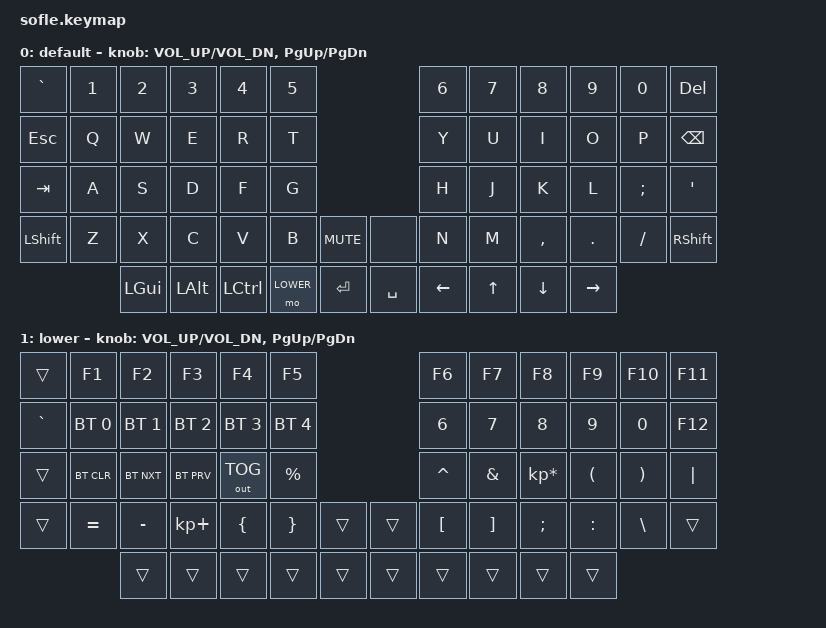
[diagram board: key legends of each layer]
/*
 * Copyright (c) 2020 The ZMK Contributors
 *
 * SPDX-License-Identifier: MIT
 */

#include <behaviors.dtsi>
#include <dt-bindings/zmk/keys.h>
#include <dt-bindings/zmk/bt.h>
#include <dt-bindings/zmk/outputs.h>

#define BASE 0
#define LOWER 1

/ {

    keymap {
        compatible = "zmk,keymap";

        default_layer {
            display-name = "default";
// ------------------------------------------------------------------------------------------------------------
// |   `   |  1  |  2  |  3   |  4   |  5   |                   |  6   |  7  |  8    |   9   |   0   |  DEL  |
// |  ESC  |  Q  |  W  |  E   |  R   |  T   |                   |  Y   |  U  |  I    |   O   |   P   | BKSPC |
// |  TAB  |  A  |  S  |  D   |  F   |  G   |                   |  H   |  J  |  K    |   L   |   ;   |   '   |
// | SHIFT |  Z  |  X  |  C   |  V   |  B   |  MUTE  |  |       |  N   |  M  |  ,    |   .   |   /   | SHIFT |
//               | GUI | ALT  | CTRL | LOWER|  ENTER |  | SPACE | LEFT |  UP | DOWN  | RIGHT |
            bindings = <
&kp GRAVE &kp N1 &kp N2   &kp N3   &kp N4    &kp N5                          &kp N6   &kp N7 &kp N8    &kp N9    &kp N0   &kp DEL
&kp ESC   &kp Q  &kp W    &kp E    &kp R     &kp T                           &kp Y    &kp U  &kp I     &kp O     &kp P    &kp BSPC
&kp TAB   &kp A  &kp S    &kp D    &kp F     &kp G                           &kp H    &kp J  &kp K     &kp L     &kp SEMI &kp SQT
&kp LSHFT &kp Z  &kp X    &kp C    &kp V     &kp B      &kp C_MUTE &none     &kp N    &kp M  &kp COMMA &kp DOT   &kp FSLH &kp RSHFT
                 &kp LGUI &kp LALT &kp LCTRL &mo LOWER  &kp RET    &kp SPACE &kp LEFT &kp UP &kp DOWN  &kp RIGHT
            >;

            sensor-bindings = <&inc_dec_kp C_VOL_UP C_VOL_DN &inc_dec_kp PG_UP PG_DN>;
        };

        lower_layer {
            display-name = "lower";
// TODO: Some binds are waiting for shifted keycode support.
// ------------------------------------------------------------------------------------------------------------
// |       |  F1 |  F2 |  F3  |  F4  |  F5  |                   |  F6  |  F7   |  F8   |  F9  |  F10  |  F11  |
// |   `   |BT_SEL 0|BT_SEL 1|BT_SEL 2|BT_SEL 3|BT_SEL 4|       |  6   |  7    |  8    |  9   |   0   |  F12  |
// |       |BT_CLR|BT_NXT|BT_PRV|OUT_TOG|  %   |                   |  ^   |  &    |  *    |  (   |   )   |   |   |
// |       |  =  |  -  |  +   |  {   |  }   |        |  |       |  [   |  ]    |  ;    |  :   |   \   |       |
//               |     |      |      |      |        |  |       |      |       |       |      |
            bindings = <
&trans    &kp F1    &kp F2    &kp F3      &kp F4    &kp F5                    &kp F6    &kp F7   &kp F8          &kp F9    &kp F10   &kp F11
&kp GRAVE &bt BT_SEL 0 &bt BT_SEL 1 &bt BT_SEL 2 &bt BT_SEL 3 &bt BT_SEL 4    &kp N6    &kp N7   &kp N8          &kp N9    &kp N0    &kp F12
&trans    &bt BT_CLR   &bt BT_NXT   &bt BT_PRV   &out OUT_TOG &kp PRCNT       &kp CARET &kp AMPS &kp KP_MULTIPLY &kp LPAR  &kp RPAR  &kp PIPE
&trans    &kp EQUAL &kp MINUS &kp KP_PLUS &kp LBRC  &kp RBRC  &trans   &trans &kp LBKT  &kp RBKT &kp SEMI        &kp COLON &kp BSLH  &trans
                    &trans    &trans      &trans    &trans    &trans   &trans &trans    &trans   &trans          &trans
            >;

            sensor-bindings = <&inc_dec_kp C_VOL_UP C_VOL_DN &inc_dec_kp PG_UP PG_DN>;
        };

    };
};
